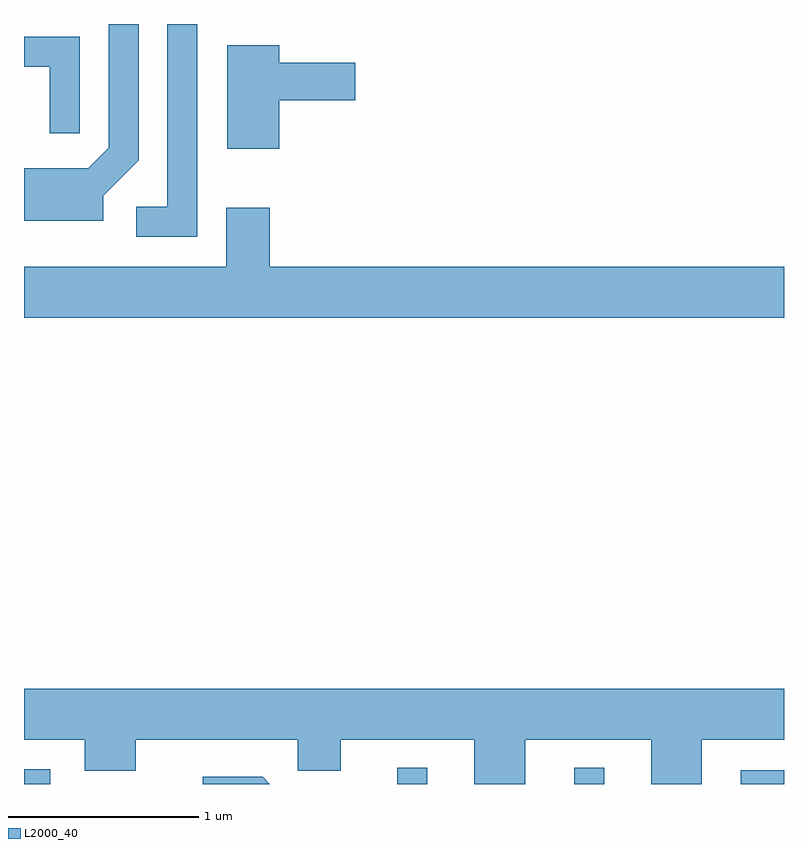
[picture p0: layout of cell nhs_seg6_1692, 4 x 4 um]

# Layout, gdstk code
import gdstk
lib = gdstk.Library(unit=1e-6, precision=1e-09)
def R(c, l, rs):  # rectangles x0, y0, x1, y1
    for r in rs: c.add(gdstk.rectangle(r[:2], r[2:], *l))
def P(c, l, *ps):  # polygons
    for p in ps: c.add(gdstk.Polygon(p, *l))
L2000_40 = (2000, 40)

nhs_seg6_1692 = lib.new_cell('nhs_seg6_1692')
R(nhs_seg6_1692, L2000_40, [(235.611,1634.162,235.749,1634.239), (237.576,1634.162,237.734,1634.248), (238.506,1634.162,238.664,1634.248), (239.383,1634.162,239.611,1634.234)])
P(nhs_seg6_1692, L2000_40, [(236.029,1637.259),(236.214,1637.444),(236.214,1638.162),(236.056,1638.162),(236.056,1637.512),(235.949,1637.404),(235.611,1637.404),(235.611,1637.126),(236.029,1637.126)],
  [(236.524,1638.162),(236.366,1638.162),(236.366,1637.199),(236.203,1637.199),(236.203,1637.041),(236.524,1637.041)],
  [(235.904,1638.094),(235.611,1638.094),(235.611,1637.936),(235.746,1637.936),(235.746,1637.588),(235.904,1637.588)],
  [(236.954,1637.761),(237.354,1637.761),(237.354,1637.959),(236.954,1637.959),(236.954,1638.049),(236.681,1638.049),(236.681,1637.506),(236.954,1637.506)],
  [(239.611,1636.884),(236.904,1636.884),(236.904,1637.194),(236.676,1637.194),(236.676,1636.884),(235.611,1636.884),(235.611,1636.616),(239.611,1636.616)],
  [(238.249,1634.396),(238.911,1634.396),(238.911,1634.162),(239.179,1634.162),(239.179,1634.396),(239.611,1634.396),(239.611,1634.664),(235.611,1634.664),(235.611,1634.396),(235.931,1634.396),(235.931,1634.231),(236.199,1634.231),(236.199,1634.396),(237.051,1634.396),(237.051,1634.231),(237.279,1634.231),(237.279,1634.396),(237.981,1634.396),(237.981,1634.162),(238.249,1634.162)],
  [(236.867,1634.199),(236.553,1634.199),(236.553,1634.162),(236.904,1634.162)])

lib.write_gds('nhs_seg6_1692.gds')
